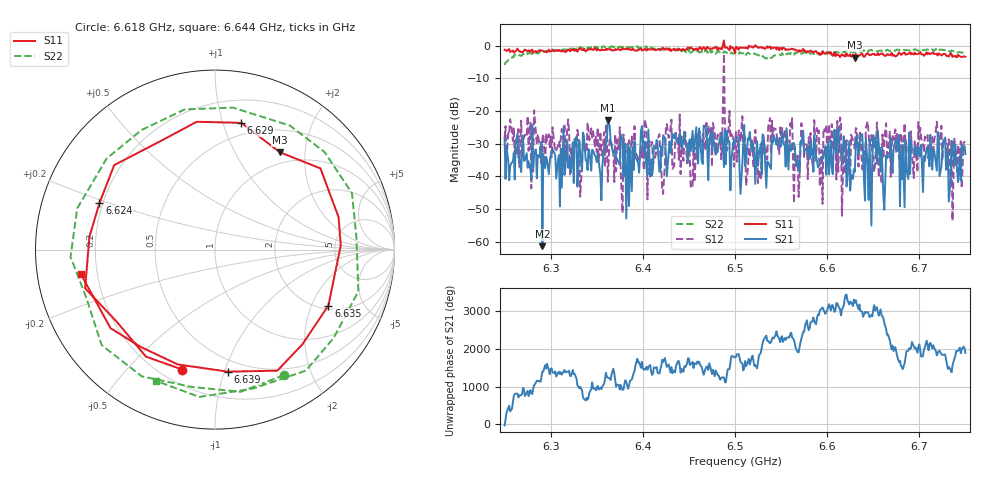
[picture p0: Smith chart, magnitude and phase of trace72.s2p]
# Hz S RI R 50
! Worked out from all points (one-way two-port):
!   401 points, 6.25 GHz to 6.75 GHz, reference 50 ohm
!   highest |S21| = -22.93 dB at 6.362 GHz (marker M1); lowest = -61.4 dB at 6.291 GHz (marker M2)
!   lowest |S11| = -3.7 dB at 6.63 GHz (marker M3), VSWR 4.74, Z = 40.9 + j77.2 ohm
!   |S11| at or under -10 dB: nowhere
!   |S22| runs from -6.0 to -0.1 dB; largest |S21 - S12| = 0.74
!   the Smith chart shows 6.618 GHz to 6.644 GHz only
!   S11 on the Smith chart (normalised r, x): 6.618 GHz: 0.28, -0.73; 6.624 GHz: 0.19, +0.19; 6.629 GHz: 0.39, +1.15; 6.635 GHz: 2.17, -2.68; 6.639 GHz: 0.40, -1.03; 6.644 GHz: 0.14, -0.09
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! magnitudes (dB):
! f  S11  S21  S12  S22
! 6.25 GHz  -1.3  -28.6  -28.4  -6.0
! 6.291 GHz  -1.6  -61.4  -28.5  -1.9
! 6.334 GHz  -1.3  -38.5  -36.3  -0.7
! 6.354 GHz  -1.5  -39.7  -26.4  -0.8
! 6.362 GHz  -1.1  -22.9  -41.7  -0.3
! 6.385 GHz  -1.0  -49.1  -29.0  -0.5
! 6.4 GHz  -1.3  -29.6  -27.9  -0.9
! 6.418 GHz  -1.2  -38.6  -27.1  -1.0
! 6.489 GHz  -0.7  -26.1  -24.2  -2.1
! 6.5 GHz  -2.3  -30.2  -30.1  -2.3
! 6.56 GHz  -1.2  -30.6  -23.8  -2.6
! 6.566 GHz  -1.4  -36.0  -36.7  -2.4
! 6.584 GHz  -1.8  -33.4  -36.0  -2.2
! 6.618 GHz  -3.2  -27.8  -30.2  -2.0
! 6.624 GHz  -3.2  -29.3  -33.9  -2.3
! 6.629 GHz  -2.8  -37.9  -29.8  -2.1
! 6.63 GHz  -3.7  -38.6  -31.7  -1.9
! 6.635 GHz  -3.0  -31.0  -27.6  -1.7
! 6.639 GHz  -3.3  -32.5  -37.7  -1.7
! 6.644 GHz  -2.4  -36.5  -23.2  -1.9
! 6.668 GHz  -3.0  -34.2  -26.4  -1.8
! 6.75 GHz  -3.4  -33.2  -29.5  -2.2
